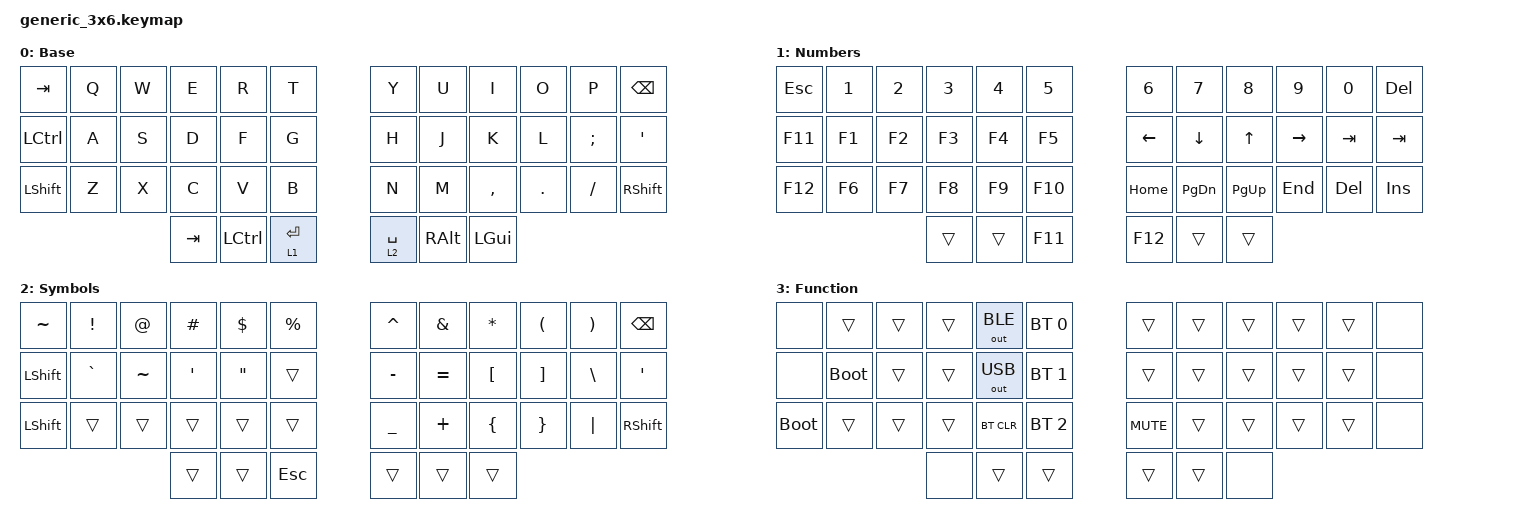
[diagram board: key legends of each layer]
/*
 * Generic 3x6 Keymap
 * 
 * AUTO-SYNCED from generic_3x5.keymap
 * Core keys are synced automatically - outer columns defined here
 * 
 * Edit generic_3x5.keymap, then run: scripts\sync_3x5_to_3x6.bat
 */

#include <behaviors.dtsi>
#include <dt-bindings/zmk/bt.h>
#include <dt-bindings/zmk/ext_power.h>
#include <dt-bindings/zmk/keys.h>
#include <dt-bindings/zmk/outputs.h>

/ {
    combos {
        compatible = "zmk,combos";

        combo_unlock {
            timeout-ms = <50>;
            key-positions = <0 1>;
            bindings = <&studio_unlock>;
            layers = <0>;
        };

        combo_fnc {
            timeout-ms = <200>;
            key-positions = <36 41>;
            bindings = <&mo 3>;
        };
    };

    keymap {
        compatible = "zmk,keymap";

        base_layer {
            display-name = "Base";
            bindings = <
&kp TAB  &kp Q  &kp W  &kp E  &kp R  &kp T                                       &kp Y          &kp U  &kp I      &kp O    &kp P  &kp BSPC
&kp LCTRL  &kp A  &kp S  &kp D  &kp F  &kp G                                       &kp H          &kp J  &kp K      &kp L    &kp SEMI  &kp SQT
&kp LSHFT  &kp Z  &kp X  &kp C  &kp V  &kp B                                       &kp N          &kp M  &kp COMMA  &kp DOT  &kp SLASH  &kp RSHFT
                                       &kp TAB  &kp LEFT_CONTROL  &lt 1 RET    &lt 2 SPACE  &kp RIGHT_ALT  &kp LGUI
            >;
        };

        num_layer {
            display-name = "Numbers";
            bindings = <
&kp ESC  &kp N1  &kp N2  &kp N3  &kp N4  &kp N5                       &kp N6    &kp N7     &kp N8     &kp N9     &kp N0  &kp DEL
&kp F11  &kp F1  &kp F2  &kp F3  &kp F4  &kp F5                       &kp LEFT  &kp DOWN   &kp UP     &kp RIGHT  &kp TAB  &kp TAB
&kp F12  &kp F6  &kp F7  &kp F8  &kp F9  &kp F10                      &kp HOME  &kp PG_DN  &kp PG_UP  &kp END    &kp DEL  &kp INS
                                       &trans  &trans   &kp F11    &kp F12  &trans  &trans
            >;
        };

        sym_layer {
            display-name = "Symbols";
            bindings = <
&kp TILDE  &kp EXCL   &kp AT     &kp HASH  &kp DLLR  &kp PRCNT                     &kp CARET  &kp AMPS   &kp ASTRK  &kp LPAR  &kp RPAR  &kp BSPC
&kp LSHFT  &kp GRAVE  &kp TILDE  &kp SQT   &kp DQT   &trans                        &kp MINUS  &kp EQUAL  &kp LBKT   &kp RBKT  &kp BSLH  &kp SQT
&kp LSHFT  &trans     &trans     &trans    &trans    &trans                        &kp UNDER  &kp PLUS   &kp LBRC   &kp RBRC  &kp PIPE  &kp RSHFT
                                       &trans  &trans     &kp ESC    &trans  &trans  &trans
            >;
        };

        fnc_layer {
            display-name = "Function";
            bindings = <
&none  &trans       &trans  &trans  &out OUT_BLE  &bt BT_SEL 0                    &trans      &trans  &trans  &trans  &trans  &none
&none  &bootloader  &trans  &trans  &out OUT_USB  &bt BT_SEL 1                    &trans      &trans  &trans  &trans  &trans  &none
&bootloader  &trans       &trans  &trans  &bt BT_CLR    &bt BT_SEL 2                    &kp C_MUTE  &trans  &trans  &trans  &trans  &none
                                       &none  &trans        &trans    &trans  &trans  &none
            >;
        };
    };
};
